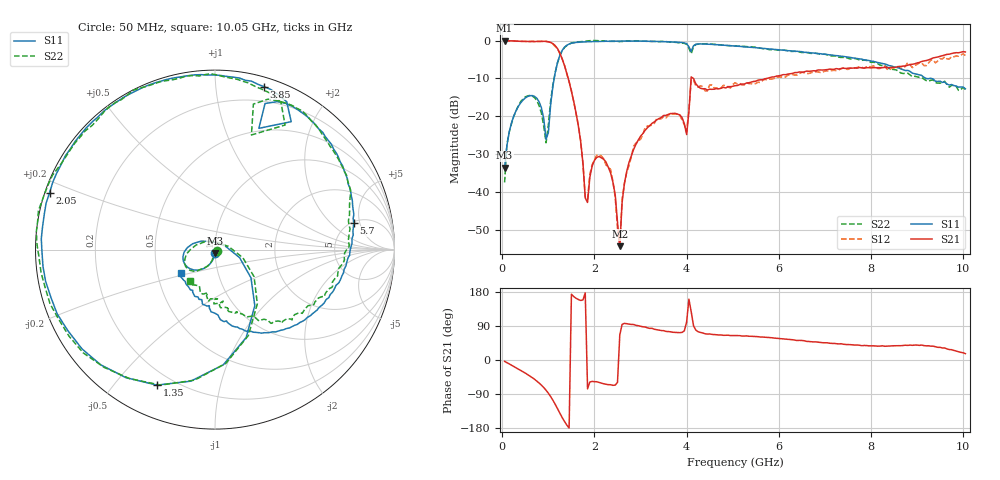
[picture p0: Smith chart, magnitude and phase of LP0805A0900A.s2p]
! AVX THIN FILM OPERATION
! 0805 Size Low Pass Filter P/N  LP0805A0900AWTR
! Network Analyzer HP8720ES.07.64: Feb 23, 2000 Serial No. US39172382
! Hewlett-Packard
!  2 Feb 2003  02:33:11
! Frequency  S11  S21  S12  S22
# HZ  S  DB R  50
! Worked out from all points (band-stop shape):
!   201 points, 50 MHz to 10.05 GHz, reference 50 ohm
!   highest |S21| = 0.00 dB at 50 MHz (marker M1); lowest = -54.4 dB at 2.55 GHz (marker M2)
!   |S21| within 3 dB of the highest: start of sweep to 1.235 GHz; 9.969 GHz to end of sweep
!   lowest |S11| = -33.6 dB at 50 MHz (marker M3), VSWR 1.04, Z = 50.1 - j2.08 ohm
!   |S11| at or under -10 dB: start of sweep to 1.126 GHz; 9.196 GHz to 9.28 GHz (84.31 MHz wide, 0.913 % of centre); 9.312 GHz to end of sweep
!   |S22| runs from -37.5 to 0.1 dB; largest |S21 - S12| = 0.15
!   S11 on the Smith chart (normalised r, x): 50 MHz: 1.00, -0.04; 1.35 GHz: 0.14, -0.65; 2.05 GHz: 0.01, +0.17; 3.85 GHz: 0.07, +1.34; 5.7 GHz: 5.16, +4.06; 10.05 GHz: 0.66, -0.18
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5e7  -33.63 -86.4  -0.00 -3.6  -0.00 -3.5  -37.54 -32.7
1.5e8  -24.15 -102.8  -0.07 -10.3  -0.07 -9.9  -24.16 -104.2
4.5e8  -15.71 -136.2  -0.18 -30.8  -0.16 -30.9  -15.41 -134.9
9.5e8  -26.11 110.1  -0.19 -79.8  -0.18 -79.6  -27.04 88.1
1.15e9  -8.34 -54.6  -1.33 -117.4  -1.56 -116.6  -8.33 -52.0
1.35e9  -1.71 -113.2  -6.61 -162.1  -6.49 -162.9  -1.79 -111.9
1.75e9  -0.33 -174.4  -32.36 158.5  -32.70 157.0  -0.20 -172.5
1.85e9  -0.27 176.4  -42.84 -76.2  -41.99 -80.1  -0.07 178.5
2.05e9  -0.22 161.0  -30.92 -57.4  -30.35 -57.8  0.02 164.5
2.35e9  -0.13 142.1  -35.02 -65.2  -34.10 -65.7  -0.18 146.2
2.55e9  -0.12 131.3  -54.41 66.6  -54.07 77.7  -0.24 134.7
2.65e9  -0.10 126.1  -37.83 96.8  -37.82 90.5  -0.13 128.9
2.85e9  -0.11 116.5  -28.79 93.7  -27.96 92.8  -0.08 119.2
3.4e9  -0.24 92.4  -20.62 78.9  -20.76 73.9  -0.25 95.2
3.85e9  -0.46 73.2  -19.64 72.2  -19.65 70.2  -0.58 75.8
4e9  -0.77 64.1  -24.85 100.0  -24.09 101.4  -0.92 65.9
4.1e9  -2.87 70.1  -9.59 127.2  -10.25 122.5  -3.48 72.4
5.05e9  -1.41 33.2  -11.91 64.5  -11.13 61.4  -1.39 36.1
5.7e9  -2.07 10.9  -10.07 60.1  -10.21 56.3  -2.15 16.1
6.75e9  -3.25 -22.9  -7.96 47.7  -8.30 46.5  -3.27 -17.1
8.4e9  -6.61 -71.2  -7.16 36.7  -7.82 30.2  -7.43 -60.3
1.005e10  -12.73 -145.1  -2.98 16.7  -3.91 11.4  -13.03 -128.6
